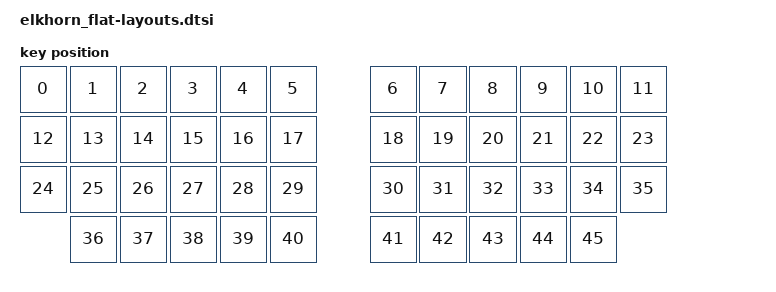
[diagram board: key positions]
// Elkhorn Flat 46-key physical layout, used by ZMK Studio.
//
// Key order MUST match default_transform in elkhorn_flat.dtsi and the
// bindings in elkhorn_flat.keymap. Each half is a flat 3x6 grid with a
// five-key bottom row under the inner five columns. All keys are 1u
// (100 units); a 1u gap separates the halves. Coordinates are schematic.
//
//  0  1  2  3  4  5      6  7  8  9 10 11
// 12 13 14 15 16 17     18 19 20 21 22 23
// 24 25 26 27 28 29     30 31 32 33 34 35
//    36 37 38 39 40     41 42 43 44 45
#include <physical_layouts.dtsi>

/ {
    default_layout: default_layout {
        compatible = "zmk,physical-layout";
        display-name = "Elkhorn Flat";
        transform = <&default_transform>;
        kscan = <&kscan0>;

        keys =
              <&key_physical_attrs 100 100    0   0 0 0 0> // 00
            , <&key_physical_attrs 100 100  100   0 0 0 0> // 01
            , <&key_physical_attrs 100 100  200   0 0 0 0> // 02
            , <&key_physical_attrs 100 100  300   0 0 0 0> // 03
            , <&key_physical_attrs 100 100  400   0 0 0 0> // 04
            , <&key_physical_attrs 100 100  500   0 0 0 0> // 05
            , <&key_physical_attrs 100 100  700   0 0 0 0> // 06
            , <&key_physical_attrs 100 100  800   0 0 0 0> // 07
            , <&key_physical_attrs 100 100  900   0 0 0 0> // 08
            , <&key_physical_attrs 100 100 1000   0 0 0 0> // 09
            , <&key_physical_attrs 100 100 1100   0 0 0 0> // 10
            , <&key_physical_attrs 100 100 1200   0 0 0 0> // 11
            , <&key_physical_attrs 100 100    0 100 0 0 0> // 12
            , <&key_physical_attrs 100 100  100 100 0 0 0> // 13
            , <&key_physical_attrs 100 100  200 100 0 0 0> // 14
            , <&key_physical_attrs 100 100  300 100 0 0 0> // 15
            , <&key_physical_attrs 100 100  400 100 0 0 0> // 16
            , <&key_physical_attrs 100 100  500 100 0 0 0> // 17
            , <&key_physical_attrs 100 100  700 100 0 0 0> // 18
            , <&key_physical_attrs 100 100  800 100 0 0 0> // 19
            , <&key_physical_attrs 100 100  900 100 0 0 0> // 20
            , <&key_physical_attrs 100 100 1000 100 0 0 0> // 21
            , <&key_physical_attrs 100 100 1100 100 0 0 0> // 22
            , <&key_physical_attrs 100 100 1200 100 0 0 0> // 23
            , <&key_physical_attrs 100 100    0 200 0 0 0> // 24
            , <&key_physical_attrs 100 100  100 200 0 0 0> // 25
            , <&key_physical_attrs 100 100  200 200 0 0 0> // 26
            , <&key_physical_attrs 100 100  300 200 0 0 0> // 27
            , <&key_physical_attrs 100 100  400 200 0 0 0> // 28
            , <&key_physical_attrs 100 100  500 200 0 0 0> // 29
            , <&key_physical_attrs 100 100  700 200 0 0 0> // 30
            , <&key_physical_attrs 100 100  800 200 0 0 0> // 31
            , <&key_physical_attrs 100 100  900 200 0 0 0> // 32
            , <&key_physical_attrs 100 100 1000 200 0 0 0> // 33
            , <&key_physical_attrs 100 100 1100 200 0 0 0> // 34
            , <&key_physical_attrs 100 100 1200 200 0 0 0> // 35
            , <&key_physical_attrs 100 100  100 300 0 0 0> // 36
            , <&key_physical_attrs 100 100  200 300 0 0 0> // 37
            , <&key_physical_attrs 100 100  300 300 0 0 0> // 38
            , <&key_physical_attrs 100 100  400 300 0 0 0> // 39
            , <&key_physical_attrs 100 100  500 300 0 0 0> // 40
            , <&key_physical_attrs 100 100  700 300 0 0 0> // 41
            , <&key_physical_attrs 100 100  800 300 0 0 0> // 42
            , <&key_physical_attrs 100 100  900 300 0 0 0> // 43
            , <&key_physical_attrs 100 100 1000 300 0 0 0> // 44
            , <&key_physical_attrs 100 100 1100 300 0 0 0> // 45
            ;
    };
};
